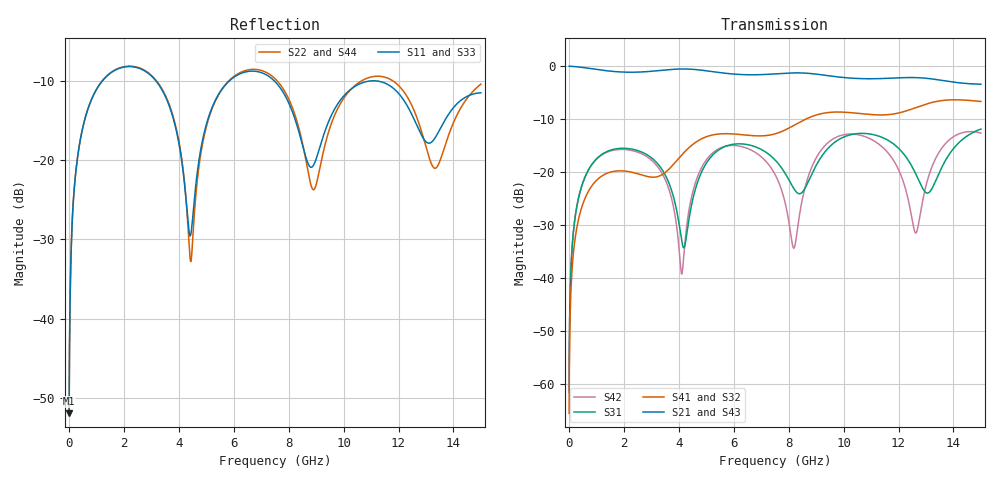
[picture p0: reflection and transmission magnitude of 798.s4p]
! Created with skrf 1.8.0 (http://scikit-rf.org).
# GHz S RI R 50.0
!freq ReS11 ImS11 ReS12 ImS12 ReS13 ImS13
! ReS14 ImS14
! ReS21 ImS21 ReS22 ImS22 ReS23 ImS23
! ReS24 ImS24
! ReS31 ImS31 ReS32 ImS32 ReS33 ImS33
! ReS34 ImS34
! ReS41 ImS41 ReS42 ImS42 ReS43 ImS43
! ReS44 ImS44
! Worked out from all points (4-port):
!   2499 points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, 5 MHz to 15 GHz, reference 50 ohm
!   strongest paths, dB at 5 MHz, 3.476 GHz, 7.19 GHz, 11.1 GHz, 15 GHz:
!     S21: 0.0, -0.7, -1.6, -2.4, -3.4
!     S43: 0.0, -0.7, -1.6, -2.4, -3.4
!     S41: -65.4, -20.2, -13.1, -9.2, -6.7
!     S32: -65.4, -20.2, -13.1, -9.2, -6.7
!     S31: -61.4, -20.2, -16.3, -12.9, -11.9
!     S42: -61.4, -21.1, -18.1, -14.1, -12.6
!   lowest |S11| = -51.9 dB at 5 MHz (marker M1), VSWR 1.01, Z = 50.2 + j0.154 ohm
!   |S11| at or under -10 dB: start of sweep to 1.224 GHz; 3.159 GHz to 5.849 GHz (2.69 GHz wide, 59.7 % of centre); 7.468 GHz to end of sweep
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0.005  0.00202 0.00153  0.9979 -0.00393  0.000105 0.000846  -0.000101 -0.000524
       0.9979 -0.00393  0.00202 0.00153  -0.000101 -0.000524  0.000104 0.000847
       0.000105 0.000846  -0.000101 -0.000524  0.00202 0.00153  0.9979 -0.00393
       -0.000101 -0.000524  0.000104 0.000847  0.9979 -0.00393  0.00202 0.00153
0.3126303  0.0343 0.0983  0.9528 -0.2423  0.0174 0.0487  -0.014 -0.0294
           0.9528 -0.2423  0.0344 0.0983  -0.014 -0.0294  0.0166 0.0489
           0.0174 0.0487  -0.014 -0.0294  0.0343 0.0983  0.9528 -0.2423
           -0.014 -0.0294  0.0166 0.0489  0.9528 -0.2423  0.0344 0.0983
1.3193  0.2828 0.1699  0.516 -0.746  0.1431 0.056  -0.0959 -0.000219
        0.516 -0.746  0.2852 0.1682  -0.0958 -0.000306  0.1368 0.0653
        0.1431 0.056  -0.0958 -0.000306  0.2828 0.1698  0.516 -0.746
        -0.0959 -0.000219  0.1368 0.0653  0.516 -0.746  0.2851 0.1682
4.345561  0.0337 -0.0196  -0.9284 -0.1266  -0.0135 0.0299  -0.0182 0.167
          -0.9284 -0.1266  0.0234 -0.0264  -0.0193 0.1668  0.0144 0.0374
          -0.0135 0.0299  -0.0193 0.1668  0.0346 -0.0186  -0.9284 -0.1265
          -0.0182 0.167  0.0144 0.0374  -0.9284 -0.1265  0.0222 -0.0257
8.891205  0.0915 0.00866  0.8367 0.1273  -0.0218 0.0996  0.0403 -0.3358
          0.8367 0.1273  0.0643 -0.00941  0.0459 -0.3357  0.013 0.1189
          -0.0218 0.0996  0.0459 -0.3357  0.0869 0.00612  0.8364 0.1296
          0.0403 -0.3358  0.013 0.1189  0.8364 0.1296  0.0692 -0.0118
11.73614  0.2788 -0.0783  -0.1191 -0.7602  0.0911 -0.1681  -0.3335 0.1096
          -0.1191 -0.7602  0.304 -0.0989  -0.3347 0.1026  0.0995 -0.0969
          0.0911 -0.1681  -0.3347 0.1026  0.2749 -0.0774  -0.1173 -0.7623
          -0.3335 0.1096  0.0995 -0.0969  -0.1173 -0.7623  0.2984 -0.0971
15  0.2647 0.00788  -0.4542 0.499  0.2468 -0.0643  0.4006 0.2343
    -0.4542 0.499  0.2897 0.0806  0.3936 0.2416  0.2281 0.0489
    0.2468 -0.0643  0.3936 0.2416  0.2672 0.00713  -0.4586 0.496
    0.4006 0.2343  0.2281 0.0489  -0.4586 0.496  0.2832 0.0826
